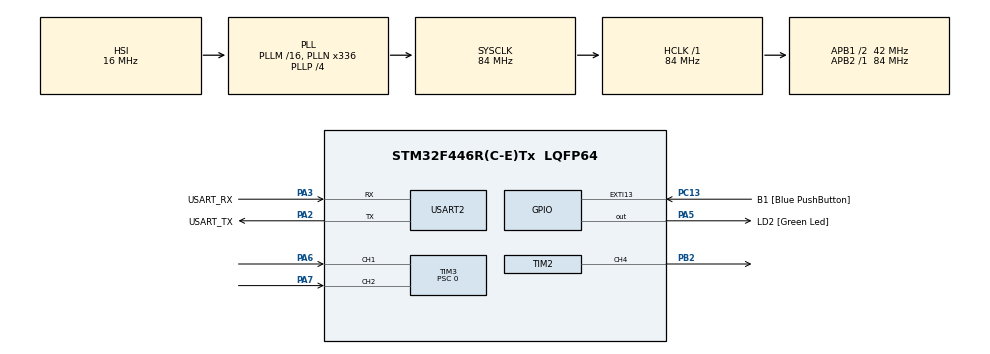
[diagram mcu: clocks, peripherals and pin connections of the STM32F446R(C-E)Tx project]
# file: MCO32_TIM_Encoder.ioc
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Mcu.Family=STM32F4
Mcu.Name=STM32F446R(C-E)Tx
Mcu.Package=LQFP64
NVIC.PriorityGroup=NVIC_PRIORITYGROUP_0
PA13.GPIO_Label=TMS
PA13.Mode=Serial_Wire
PA13.Signal=SYS_JTMS-SWDIO
PA14.GPIO_Label=TCK
PA14.Mode=Serial_Wire
PA14.Signal=SYS_JTCK-SWCLK
PA2.GPIO_Label=USART_TX
PA2.Mode=Asynchronous
PA2.Signal=USART2_TX
PA3.GPIO_Label=USART_RX
PA3.Mode=Asynchronous
PA3.Signal=USART2_RX
PA5.GPIO_Label=LD2 [Green Led]
PA5.Signal=GPIO_Output
PA6.Signal=S_TIM3_CH1
PA7.Signal=S_TIM3_CH2
PB2.Signal=S_TIM2_CH4
PB3.GPIO_Label=SWO
PB3.Signal=SYS_JTDO-SWO
PC13.GPIO_Label=B1 [Blue PushButton]
PC13.GPIO_ModeDefaultEXTI=GPIO_MODE_IT_FALLING
PC13.Signal=GPXTI13
PC14-OSC32_IN.Mode=LSE-External-Oscillator
PC14-OSC32_IN.Signal=RCC_OSC32_IN
PC15-OSC32_OUT.Mode=LSE-External-Oscillator
PC15-OSC32_OUT.Signal=RCC_OSC32_OUT
PH0-OSC_IN.Mode=HSE-External-Oscillator
PH0-OSC_IN.Signal=RCC_OSC_IN
PH1-OSC_OUT.Mode=HSE-External-Oscillator
PH1-OSC_OUT.Signal=RCC_OSC_OUT
ProjectManager.HeapSize=0x200
ProjectManager.StackSize=0x400
ProjectManager.TargetToolchain=STM32CubeIDE
RCC.48MHZClocksFreq_Value=84000000
RCC.AHBFreq_Value=84000000
RCC.APB1CLKDivider=RCC_HCLK_DIV2
RCC.APB1Freq_Value=42000000
RCC.APB1TimFreq_Value=84000000
RCC.APB2Freq_Value=84000000
RCC.APB2TimFreq_Value=84000000
RCC.CortexFreq_Value=84000000
RCC.FLatency-AdvancedSettings=FLASH_LATENCY_2
RCC.HCLKFreq_Value=84000000
RCC.HSE_VALUE=8000000
RCC.HSI_VALUE=16000000
RCC.PLLN=336
RCC.PLLP=RCC_PLLP_DIV4
RCC.SYSCLKFreq_VALUE=84000000
RCC.SYSCLKSource=RCC_SYSCLKSOURCE_PLLCLK
RCC.USBFreq_Value=168000000
RCC.VCOOutputFreq_Value=336000000
SH.S_TIM2_CH4.0=TIM2_CH4,PWM Generation4 CH4
SH.S_TIM3_CH1.0=TIM3_CH1,Encoder_Interface
SH.S_TIM3_CH2.0=TIM3_CH2,Encoder_Interface
TIM1.AutoReloadPreload=TIM_AUTORELOAD_PRELOAD_ENABLE
TIM1.Period=0xFFFF
TIM1.Prescaler=84-1
TIM2.Channel-PWM\ Generation4\ CH4=TIM_CHANNEL_4
TIM2.Period=2000-1
TIM2.Prescaler=840-1
TIM3.AutoReloadPreload=TIM_AUTORELOAD_PRELOAD_ENABLE
TIM3.IC1Filter=15
TIM3.IC2Filter=15
TIM3.Period=360
TIM3.Prescaler=0
USART2.VirtualMode=VM_ASYNC
VP_TIM1_VS_ClockSourceINT.Mode=Internal
VP_TIM2_VS_ClockSourceINT.Mode=Internal
board=NUCLEO-F446RE

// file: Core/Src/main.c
/* USER CODE BEGIN Header */
/**
  ******************************************************************************
  * @file           : main.c
  * @brief          : Main program body
  ******************************************************************************
  * @attention
  *
  * Copyright (c) 2022 STMicroelectronics.
  * All rights reserved.
  *
  * This software is licensed under terms that can be found in the LICENSE file
  * in the root directory of this software component.
  * If no LICENSE file comes with this software, it is provided AS-IS.
  *
  ******************************************************************************
  */
/* USER CODE END Header */
#include "main.h"

/* USER CODE BEGIN Includes */
#include <stdio.h>
#include "fonts.h"
#include "tft.h"
#include "user_setting.h"
#include "functions.h"
#include "stdio.h"
/* USER CODE END Includes */

TIM_HandleTypeDef htim1;
TIM_HandleTypeDef htim2;
TIM_HandleTypeDef htim3;

UART_HandleTypeDef huart2;

/* USER CODE BEGIN PV */
uint16_t ID = 0;
/* USER CODE END PV */

void SystemClock_Config(void);
static void MX_GPIO_Init(void);
static void MX_USART2_UART_Init(void);
static void MX_TIM1_Init(void);
static void MX_TIM2_Init(void);
static void MX_TIM3_Init(void);

int main(void)
{
  /* USER CODE BEGIN 1 */

	int iBordas = 0;
	int iDir = 0;
	char sBordas[30];
	int iSize = 0;
	char msg[50];

  /* USER CODE END 1 */

  /* MCU Configuration--------------------------------------------------------*/

  /* Reset of all peripherals, Initializes the Flash interface and the Systick. */
  HAL_Init();

  /* Configure the system clock */
  SystemClock_Config();

  /* Initialize all configured peripherals */
  MX_GPIO_Init();
  MX_USART2_UART_Init();
  MX_TIM1_Init();
  MX_TIM2_Init();
  MX_TIM3_Init();
  /* USER CODE BEGIN 2 */

  /* Inicializa display */
  tft_gpio_init(); //Inicializa os GPIOs do LCD (evita uso do CubeMX)
  HAL_TIM_Base_Start(&htim1); //Inicializa o Timer3 (base de tempo de us do LCD)
  ID = tft_readID(); //Lê o ID do LCD (poderia ser chamada pela inicialização do LCD)
  HAL_Delay(100);
  tft_init(ID); //Inicializa o LCD de acordo com seu ID
  setRotation(3); //Ajusta a orientação da tela (retrato)
  fillScreen(BLACK); //Preenche a tela em uma só cor

  /* Inicializa encoder */
  HAL_TIM_Encoder_Start(&htim3, TIM_CHANNEL_ALL); //Habilita o encoder
  __HAL_TIM_SET_COUNTER(&htim3, 0); //Zera o contador

  /* Inicializa PWM (servo) */
  HAL_TIM_PWM_Start(&htim2, TIM_CHANNEL_4); //Habilita PWM
  htim2.Instance->CCR4 = 0 + 60; //60 = 0,6 ms, 0 = 0,0 ms, total = 0,6 ms

  /* Abertura */
  HAL_UART_Transmit(&huart2, (uint8_t *)"Teste Encoder Incremental\r\n", 27, 100); //Mensagem de abertura
  printnewtstr(20, GREEN, &mono12x7bold, 1, (uint8_t *)"Encoder Incremental");

  /* USER CODE END 2 */

  /* Infinite loop */
  /* USER CODE BEGIN WHILE */
  while (1)
  {
	  //Testa se o contador de pulsos mudou
	  if(iBordas != __HAL_TIM_GET_COUNTER(&htim3))
	  {
		  //Atualiza a variável
		  iBordas = __HAL_TIM_GET_COUNTER(&htim3);
		  //Testa de o sentido de giro mudou
		  if(iDir != __HAL_TIM_DIRECTION_STATUS(&htim3))
		  {
			  //Atualiza a variável
			  iDir = __HAL_TIM_DIRECTION_STATUS(&htim3);
			  //Mostra o sentido
			  if(iDir)
				  HAL_UART_Transmit(&huart2, (uint8_t *)"Sentido antihorario\r\n", 22, 100);
			  else
				  HAL_UART_Transmit(&huart2, (uint8_t *)"Sentido horario\r\n", 17, 100);
		  }
		  //Mostra o total de bordas
		  iSize = sprintf(sBordas, "Bordas: %d\r\n", iBordas);
		  HAL_UART_Transmit(&huart2, (uint8_t *)sBordas, iSize, 100);
		  //Mostra o total de clicks
		  iSize = sprintf(sBordas, "Clicks do KY-040: %d\r\n", iBordas>>1);
		  HAL_UART_Transmit(&huart2, (uint8_t *)sBordas, iSize, 100);
	  }

	  htim2.Instance->CCR4 = (iBordas>>1) + 60; //Ajusta dutycycle do PWM

	  sprintf(msg, "Posicao: %3d graus", iBordas>>1);
	  printnewtstr_bc(60, GREEN, BLACK, &mono12x7bold, 1, (uint8_t *)&msg);

    /* USER CODE END WHILE */

  }
}

void SystemClock_Config(void)
{
  RCC_OscInitTypeDef RCC_OscInitStruct = {0};
  RCC_ClkInitTypeDef RCC_ClkInitStruct = {0};

  /** Configure the main internal regulator output voltage
  */
  __HAL_RCC_PWR_CLK_ENABLE();
  __HAL_PWR_VOLTAGESCALING_CONFIG(PWR_REGULATOR_VOLTAGE_SCALE3);

  /** Initializes the RCC Oscillators according to the specified parameters
  * in the RCC_OscInitTypeDef structure.
  */
  RCC_OscInitStruct.OscillatorType = RCC_OSCILLATORTYPE_HSI;
  RCC_OscInitStruct.HSIState = RCC_HSI_ON;
  RCC_OscInitStruct.HSICalibrationValue = RCC_HSICALIBRATION_DEFAULT;
  RCC_OscInitStruct.PLL.PLLState = RCC_PLL_ON;
  RCC_OscInitStruct.PLL.PLLSource = RCC_PLLSOURCE_HSI;
  RCC_OscInitStruct.PLL.PLLM = 16;
  RCC_OscInitStruct.PLL.PLLN = 336;
  RCC_OscInitStruct.PLL.PLLP = RCC_PLLP_DIV4;
  RCC_OscInitStruct.PLL.PLLQ = 2;
  RCC_OscInitStruct.PLL.PLLR = 2;
  if (HAL_RCC_OscConfig(&RCC_OscInitStruct) != HAL_OK)
  {
    Error_Handler();
  }

  /** Initializes the CPU, AHB and APB buses clocks
  */
  RCC_ClkInitStruct.ClockType = RCC_CLOCKTYPE_HCLK|RCC_CLOCKTYPE_SYSCLK
                              |RCC_CLOCKTYPE_PCLK1|RCC_CLOCKTYPE_PCLK2;
  RCC_ClkInitStruct.SYSCLKSource = RCC_SYSCLKSOURCE_PLLCLK;
  RCC_ClkInitStruct.AHBCLKDivider = RCC_SYSCLK_DIV1;
  RCC_ClkInitStruct.APB1CLKDivider = RCC_HCLK_DIV2;
  RCC_ClkInitStruct.APB2CLKDivider = RCC_HCLK_DIV1;

  if (HAL_RCC_ClockConfig(&RCC_ClkInitStruct, FLASH_LATENCY_2) != HAL_OK)
  {
    Error_Handler();
  }
}

static void MX_TIM1_Init(void)
{

  TIM_ClockConfigTypeDef sClockSourceConfig = {0};
  TIM_MasterConfigTypeDef sMasterConfig = {0};

  htim1.Instance = TIM1;
  htim1.Init.Prescaler = 84-1;
  htim1.Init.CounterMode = TIM_COUNTERMODE_UP;
  htim1.Init.Period = 0xFFFF;
  htim1.Init.ClockDivision = TIM_CLOCKDIVISION_DIV1;
  htim1.Init.RepetitionCounter = 0;
  htim1.Init.AutoReloadPreload = TIM_AUTORELOAD_PRELOAD_ENABLE;
  if (HAL_TIM_Base_Init(&htim1) != HAL_OK)
  {
    Error_Handler();
  }
  sClockSourceConfig.ClockSource = TIM_CLOCKSOURCE_INTERNAL;
  if (HAL_TIM_ConfigClockSource(&htim1, &sClockSourceConfig) != HAL_OK)
  {
    Error_Handler();
  }
  sMasterConfig.MasterOutputTrigger = TIM_TRGO_RESET;
  sMasterConfig.MasterSlaveMode = TIM_MASTERSLAVEMODE_DISABLE;
  if (HAL_TIMEx_MasterConfigSynchronization(&htim1, &sMasterConfig) != HAL_OK)
  {
    Error_Handler();
  }

}

static void MX_TIM2_Init(void)
{

  TIM_ClockConfigTypeDef sClockSourceConfig = {0};
  TIM_MasterConfigTypeDef sMasterConfig = {0};
  TIM_OC_InitTypeDef sConfigOC = {0};

  htim2.Instance = TIM2;
  htim2.Init.Prescaler = 840-1;
  htim2.Init.CounterMode = TIM_COUNTERMODE_UP;
  htim2.Init.Period = 2000-1;
  htim2.Init.ClockDivision = TIM_CLOCKDIVISION_DIV1;
  htim2.Init.AutoReloadPreload = TIM_AUTORELOAD_PRELOAD_DISABLE;
  if (HAL_TIM_Base_Init(&htim2) != HAL_OK)
  {
    Error_Handler();
  }
  sClockSourceConfig.ClockSource = TIM_CLOCKSOURCE_INTERNAL;
  if (HAL_TIM_ConfigClockSource(&htim2, &sClockSourceConfig) != HAL_OK)
  {
    Error_Handler();
  }
  if (HAL_TIM_PWM_Init(&htim2) != HAL_OK)
  {
    Error_Handler();
  }
  sMasterConfig.MasterOutputTrigger = TIM_TRGO_RESET;
  sMasterConfig.MasterSlaveMode = TIM_MASTERSLAVEMODE_DISABLE;
  if (HAL_TIMEx_MasterConfigSynchronization(&htim2, &sMasterConfig) != HAL_OK)
  {
    Error_Handler();
  }
  sConfigOC.OCMode = TIM_OCMODE_PWM1;
  sConfigOC.Pulse = 0;
  sConfigOC.OCPolarity = TIM_OCPOLARITY_HIGH;
  sConfigOC.OCFastMode = TIM_OCFAST_DISABLE;
  if (HAL_TIM_PWM_ConfigChannel(&htim2, &sConfigOC, TIM_CHANNEL_4) != HAL_OK)
  {
    Error_Handler();
  }
  HAL_TIM_MspPostInit(&htim2);

}

static void MX_TIM3_Init(void)
{

  TIM_Encoder_InitTypeDef sConfig = {0};
  TIM_MasterConfigTypeDef sMasterConfig = {0};

  htim3.Instance = TIM3;
  htim3.Init.Prescaler = 0;
  htim3.Init.CounterMode = TIM_COUNTERMODE_UP;
  htim3.Init.Period = 360;
  htim3.Init.ClockDivision = TIM_CLOCKDIVISION_DIV1;
  htim3.Init.AutoReloadPreload = TIM_AUTORELOAD_PRELOAD_ENABLE;
  sConfig.EncoderMode = TIM_ENCODERMODE_TI1;
  sConfig.IC1Polarity = TIM_ICPOLARITY_RISING;
  sConfig.IC1Selection = TIM_ICSELECTION_DIRECTTI;
  sConfig.IC1Prescaler = TIM_ICPSC_DIV1;
  sConfig.IC1Filter = 15;
  sConfig.IC2Polarity = TIM_ICPOLARITY_RISING;
  sConfig.IC2Selection = TIM_ICSELECTION_DIRECTTI;
  sConfig.IC2Prescaler = TIM_ICPSC_DIV1;
  sConfig.IC2Filter = 15;
  if (HAL_TIM_Encoder_Init(&htim3, &sConfig) != HAL_OK)
  {
    Error_Handler();
  }
  sMasterConfig.MasterOutputTrigger = TIM_TRGO_RESET;
  sMasterConfig.MasterSlaveMode = TIM_MASTERSLAVEMODE_DISABLE;
  if (HAL_TIMEx_MasterConfigSynchronization(&htim3, &sMasterConfig) != HAL_OK)
  {
    Error_Handler();
  }

}

static void MX_USART2_UART_Init(void)
{

  huart2.Instance = USART2;
  huart2.Init.BaudRate = 115200;
  huart2.Init.WordLength = UART_WORDLENGTH_8B;
  huart2.Init.StopBits = UART_STOPBITS_1;
  huart2.Init.Parity = UART_PARITY_NONE;
  huart2.Init.Mode = UART_MODE_TX_RX;
  huart2.Init.HwFlowCtl = UART_HWCONTROL_NONE;
  huart2.Init.OverSampling = UART_OVERSAMPLING_16;
  if (HAL_UART_Init(&huart2) != HAL_OK)
  {
    Error_Handler();
  }

}

static void MX_GPIO_Init(void)
{
  GPIO_InitTypeDef GPIO_InitStruct = {0};

  /* GPIO Ports Clock Enable */
  __HAL_RCC_GPIOC_CLK_ENABLE();
  __HAL_RCC_GPIOH_CLK_ENABLE();
  __HAL_RCC_GPIOA_CLK_ENABLE();
  __HAL_RCC_GPIOB_CLK_ENABLE();

  /*Configure GPIO pin Output Level */
  HAL_GPIO_WritePin(LD2_GPIO_Port, LD2_Pin, GPIO_PIN_RESET);

  /*Configure GPIO pin : B1_Pin */
  GPIO_InitStruct.Pin = B1_Pin;
  GPIO_InitStruct.Mode = GPIO_MODE_IT_FALLING;
  GPIO_InitStruct.Pull = GPIO_NOPULL;
  HAL_GPIO_Init(B1_GPIO_Port, &GPIO_InitStruct);

  /*Configure GPIO pin : LD2_Pin */
  GPIO_InitStruct.Pin = LD2_Pin;
  GPIO_InitStruct.Mode = GPIO_MODE_OUTPUT_PP;
  GPIO_InitStruct.Pull = GPIO_NOPULL;
  GPIO_InitStruct.Speed = GPIO_SPEED_FREQ_LOW;
  HAL_GPIO_Init(LD2_GPIO_Port, &GPIO_InitStruct);

}

void Error_Handler(void)
{
  __disable_irq();
  while (1)
  {
  }
}
